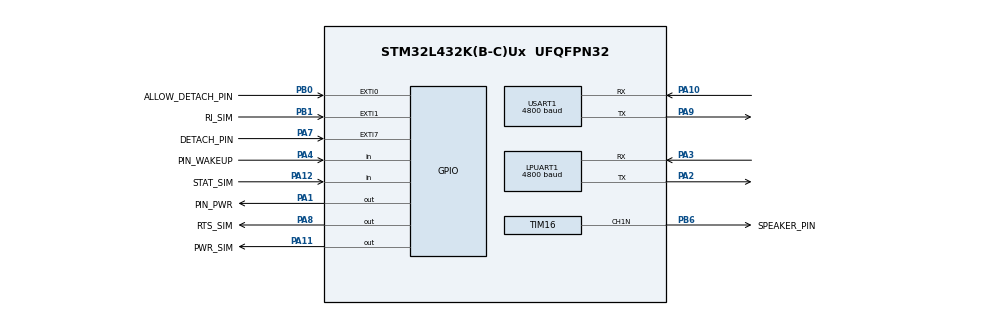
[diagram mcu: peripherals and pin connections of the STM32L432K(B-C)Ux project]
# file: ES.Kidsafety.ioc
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ADC1.Channel-3\#ChannelRegularConversion=ADC_CHANNEL_VREFINT
ADC1.NbrOfConversionFlag=1
ADC1.OffsetNumber-3\#ChannelRegularConversion=ADC_OFFSET_NONE
ADC1.Rank-3\#ChannelRegularConversion=1
ADC1.SamplingTime-3\#ChannelRegularConversion=ADC_SAMPLETIME_640CYCLES_5
ADC1.master=1
LPUART1.BaudRate=4800
LPUART1.WordLength=UART_WORDLENGTH_8B
Mcu.Family=STM32L4
Mcu.Name=STM32L432K(B-C)Ux
Mcu.Package=UFQFPN32
NVIC.ADC1_IRQn=true\:2\:0\:true\:false\:true\:true\:true
NVIC.EXTI0_IRQn=true\:1\:0\:true\:false\:true\:true\:true
NVIC.EXTI1_IRQn=true\:1\:0\:true\:false\:true\:true\:true
NVIC.EXTI9_5_IRQn=true\:0\:0\:false\:false\:true\:true\:true
NVIC.LPUART1_IRQn=true\:0\:0\:false\:false\:true\:true\:true
NVIC.PriorityGroup=NVIC_PRIORITYGROUP_4
NVIC.RTC_Alarm_IRQn=true\:0\:0\:false\:false\:true\:true\:true
NVIC.USART1_IRQn=true\:0\:0\:false\:false\:true\:true\:true
PA1.GPIO_Label=PIN_PWR
PA1.Signal=GPIO_Output
PA10.Mode=Asynchronous
PA10.Signal=USART1_RX
PA11.GPIO_Label=PWR_SIM
PA11.PinState=GPIO_PIN_SET
PA11.Signal=GPIO_Output
PA12.GPIO_Label=STAT_SIM
PA12.GPIO_PuPd=GPIO_PULLDOWN
PA12.Signal=GPIO_Input
PA13\ (JTMS-SWDIO).Mode=Serial_Wire
PA13\ (JTMS-SWDIO).Signal=SYS_JTMS-SWDIO
PA14\ (JTCK-SWCLK).Mode=Serial_Wire
PA14\ (JTCK-SWCLK).Signal=SYS_JTCK-SWCLK
PA2.Mode=Asynchronous
PA2.Signal=LPUART1_TX
PA3.Mode=Asynchronous
PA3.Signal=LPUART1_RX
PA4.GPIO_Label=PIN_WAKEUP
PA4.Signal=GPIO_Input
PA7.GPIO_Label=DETACH_PIN
PA7.GPIO_PuPd=GPIO_PULLUP
PA7.Signal=GPXTI7
PA8.GPIO_Label=RTS_SIM
PA8.Signal=GPIO_Output
PA9.Mode=Asynchronous
PA9.Signal=USART1_TX
PB0.GPIO_Label=ALLOW_DETACH_PIN
PB0.GPIO_PuPd=GPIO_PULLUP
PB0.Signal=GPXTI0
PB1.GPIO_Label=RI_SIM
PB1.GPIO_PuPd=GPIO_PULLUP
PB1.Signal=GPXTI1
PB6.GPIO_Label=SPEAKER_PIN
PB6.Mode=PWM Generation1 CH1N
PB6.Signal=TIM16_CH1N
ProjectManager.HeapSize=0x200
ProjectManager.StackSize=0x400
ProjectManager.TargetToolchain=STM32CubeIDE
RCC.ADCFreq_Value=32000000
RCC.HSE_VALUE=8000000
RCC.HSI48_VALUE=48000000
RCC.HSI_VALUE=16000000
RCC.LSE_VALUE=32768
RCC.MSI_VALUE=4000000
RCC.PLLSAI1N=16
RCC.USBFreq_Value=32000000
RCC.VCOOutputFreq_Value=32000000
RTC.Alarm=RTC_ALARM_A
RTC.AlarmMaskDateWeekDay=RTC_ALARMMASK_DATEWEEKDAY
RTC.AlarmMaskHours=RTC_ALARMMASK_HOURS
RTC.Hours=5
RTC.Hours_A=5
RTC.Minutes=10
RTC.Minutes_A=10
RTC.Seconds_A=30
TIM16.Channel=TIM_CHANNEL_1
TIM16.Period=499
TIM16.Prescaler=3
TIM16.Pulse=199
USART1.BaudRate=4800
USART1.VirtualMode-Asynchronous=VM_ASYNC
VP_ADC1_Vref_Input.Mode=IN-Vrefint
VP_RTC_VS_RTC_Activate.Mode=RTC_Enabled
VP_RTC_VS_RTC_Alarm_A_Intern.Mode=Alarm A
VP_RTC_VS_RTC_Calendar.Mode=RTC_Calendar
VP_TIM16_VS_ClockSourceINT.Mode=Enable_Timer
board=custom

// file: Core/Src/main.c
/* USER CODE BEGIN Header */
/**
  ******************************************************************************
  * @file           : main.c
  * @brief          : Main program body
  ******************************************************************************
  * @attention
  *
  * <h2><center>&copy; Copyright (c) 2020 STMicroelectronics.
  * All rights reserved.</center></h2>
  *
  * This software component is licensed by ST under BSD 3-Clause license,
  * the "License"; You may not use this file except in compliance with the
  * License. You may obtain a copy of the License at:
  *                        opensource.org/licenses/BSD-3-Clause
  *z
  ******************************************************************************
  */
/* USER CODE END Header */

#include "main.h"

/* USER CODE BEGIN Includes */
//#include "stdbool.h"
#include "string.h"
#include "stdlib.h"
#include "stdio.h"
#include "math.h"

/* USER CODE END Includes */

/* USER CODE BEGIN PD */
#define MAX_ARRAY 100
/* USER CODE END PD */

ADC_HandleTypeDef hadc1;

UART_HandleTypeDef hlpuart1;
UART_HandleTypeDef huart1;

RTC_HandleTypeDef hrtc;

TIM_HandleTypeDef htim16;

/* USER CODE BEGIN PV */
RTC_TimeTypeDef sTime = {0};
RTC_DateTypeDef sDate = {0};
RTC_AlarmTypeDef sAlarm = {0};
/* USER CODE END PV */

void SystemClock_Config(void);
static void MX_GPIO_Init(void);
static void MX_USART1_UART_Init(void);
static void MX_RTC_Init(void);
static void MX_ADC1_Init(void);
static void MX_LPUART1_UART_Init(void);
static void MX_TIM16_Init(void);
/* USER CODE BEGIN PFP */
void convert_Mode(uint8_t mode);
void ON_OFF_Pulse(void);
//------------------------------Set_Time/Alarm--------------------------------//
uint8_t DecimalToBCD(int number);
void setTime(uint8_t weekday, uint8_t date, uint8_t month, uint8_t year, uint8_t hour, uint8_t minute, uint8_t second);
void getTime(void);
void set_Alarm(uint8_t set_hour, uint8_t set_minute, uint8_t set_second, uint8_t set_day, uint8_t time_stage);
//-----------------------Checksum-------------------------//
void str2hex(char* input, char* output);
uint8_t NMEA_Checksum(char *Rx_Buffer);
//-----------------------Take Position-------------------------//
uint8_t check_Valid_Header(char *Rx_Buffer, uint8_t case_return);
uint8_t take_Coordinate(char *Rx_Buffer);
uint8_t send_Coordinate_to_Serve(char *lat_Array, char *lng_Array);
float Haversine(float Lat_Center, float Long_Center, float Lat_Location, float Long_Location);
//--------------------------------- Module SIM Function ---------------------------------//
void 	deleteBuffer(char ch[], int sophantu);
void 	resetHardwareSARAU201(void);
void 	contcatenateString(char str1[],char str2[],char str3[],char str4[],char str5[]);
void 	checkMessage(char phoneNumber[]);
void 	nextDay(uint8_t* date, uint8_t* day, uint8_t* month, uint8_t* year);
void 	send_getDataServer(void);
void 	warningDetached(void);
void 	warningOutSafeArea(void);
void 	allowDetaching(void);
void 	enableDetach(void);
void 	enableSpeaker(void);
void 	CutString(int stringpos, int startpos, char parentstring[], char childstring[], char startchar[], char endchar[]);
void 	periodicUpdateData(uint8_t stage);
uint8_t SaraU201Command(char ch[], char str[], int timeout);
uint8_t resetSoftwareSARAU201(void);
uint8_t deleteSMS(void);
uint8_t initSIM(void);
uint8_t sendMsg(int Case, char PhoneNumber[], char Latitude[], char Longtitude[], char Battery[]);
uint8_t makeCall(char phoneNumber[]);
uint8_t checkPhoneNumber(char phoneNumber[]);
uint8_t DataServer(char Latitude[], char Longtitude[], char Battery[]);
uint8_t checkDataServer(char stat[], char lat_center[], char lng_center[], char rad[]);
uint8_t ConverDay(char Day[]);
uint8_t ConverMonth(char Month[]);
uint8_t getTimeServer(uint8_t* day, uint8_t* date, uint8_t* month, uint8_t* year, uint8_t* hour, uint8_t* minute, uint8_t* second);
uint8_t CheckValidSMS(char Data[]);
uint8_t CheckValidDataServer(char Data[]);

/* USER CODE END PFP */

/* USER CODE BEGIN 0 */
char Rx_Buffer[MAX_ARRAY] = {0};
char Rx_Data[2] = {0};
char lat_Array[10] = {0};
char lng_Array[10] = {0};
char Latitude_ARR[12] 	= "16.07215";
char Longtitude_ARR[12] = "108.220748";
char Rx_data_sim[10];
char Rx_buffer_sim[350];
char Status[1];
char LatCenter[10];
char LngCenter[10];
char Radius[3];
char Thu[3], Ngay[2], Thang[3], Nam[4];
char Gio[2], Phut[2], Giay[2];
char tempARR[100];
char teleNumber[10] 	= "935087813";
char teleNumber2[10] 	= "936055147";
char Battery_ARR[5] 	= "50.2";
char Rssi1[5] = {0};
char Rssi2[5] = {0};
char SaveMes[100] = {0};//"+CMTI: \"ME\",2\r"
char locateMes[5] = {0};
float lat_Location = 16.123456;
float lng_Location = 107.123456;
float distance1;
uint16_t Rx_index = 0;
uint8_t Valid_Coordinate = 5;
uint8_t start_Header_Buffer = 0;
uint8_t valid_GPS = 0;
uint8_t end_Buffer = 0;
uint8_t flag_Alarm = 1;
uint8_t start_Receive = 0;
uint8_t num_error_Coordinate = 0;
uint8_t time_stage = 5;
uint8_t Weekday, Date, Month, Year, Hour, Minute, Second;
//uint8_t Weekday = 2, Date = 14, Month = 10, Year = 20, Hour = 5, Minute = 0, Second = 0;
uint16_t Rx_index_sim = 0;
uint8_t checkMes, checkCall, checkSer = 0;
/*Bien thong bao*/
uint8_t Ring = 0;
uint8_t Detach = 0;
uint8_t SafeArea = 0;
uint8_t AllowDetach = 0;
uint8_t StatusAllowRemove;
uint8_t thu, ngay, thang, nam, gio, phut , giay = 0;
uint8_t Rssi1_num, Rssi2_num = 0;
uint8_t NewSms = 0;
uint8_t checkNewMes = 0;
uint8_t Mes_index = 0;
float latCen, lngCen = 0;
//-----------------------------------------------------------------//
__STATIC_INLINE void DelayMicro(__IO uint32_t micros)
{
micros *= (SystemCoreClock / 1000000) / 9;
/* Wait till done */
while (micros--) ;
}
/* USER CODE BEGIN PFP */
/* Private function prototypes -----------------------------------------------*/
/* Private function prototypes -----------------------------------------------*/
#ifdef __GNUC__
 /* With GCC/RAISONANCE, small printf (option LD Linker->Libraries->Small printf
 set to 'Yes') calls __io_putchar() */
 #define PUTCHAR_PROTOTYPE int __io_putchar(int ch)
#else
 #define PUTCHAR_PROTOTYPE int fputc(int ch, FILE *f)
#endif /* __GNUC__ */
//------------------------------Set_Time/Alarm--------------------------------//
void HAL_RTC_AlarmAEventCallback(RTC_HandleTypeDef *hrtc)
{
	if (time_stage == 5)
		flag_Alarm = 2;
	if (time_stage == 30)
		flag_Alarm = 1;
	HAL_ResumeTick();
}

uint8_t DecimalToBCD(int number)
{
	return (((number / 10) << 4) | (number % 10));
}

void setTime(uint8_t weekday, uint8_t date, uint8_t month, uint8_t year, uint8_t hour, uint8_t minute, uint8_t second)
{
	sDate.WeekDay 	= DecimalToBCD(weekday);
	sDate.Date 		= DecimalToBCD(date);
	sDate.Month 	= DecimalToBCD(month);
	sDate.Year 		= DecimalToBCD(year);

	sTime.Hours		= DecimalToBCD(hour);
	sTime.Minutes	= DecimalToBCD(minute);
	sTime.Seconds	= DecimalToBCD(second);

	HAL_RTC_SetTime(&hrtc, &sTime, FORMAT_BCD);
	HAL_RTC_SetDate(&hrtc, &sDate, FORMAT_BCD);
}

void getTime(void)
{
	HAL_RTC_GetTime(&hrtc, &sTime, FORMAT_BIN);
	HAL_RTC_GetDate(&hrtc, &sDate, FORMAT_BIN);

	Weekday = sDate.WeekDay;
	Date 	= sDate.Date;
	Month 	= sDate.Month;
	Year 	= sDate.Year;

	Hour 	= sTime.Hours;
	Minute 	= sTime.Minutes;
	Second	= sTime.Seconds;
}

void set_Alarm(uint8_t set_hour, uint8_t set_minute, uint8_t set_second, uint8_t set_day, uint8_t time_stage)
{
//	  uint8_t set_minute_Alarm = (set_minute + time_stage)%60;
//	  if (set_minute_Alarm < set_minute) set_hour++;
	  uint8_t set_second_Alarm = (set_second + time_stage)%60;
	  if (set_second_Alarm < set_second) set_minute++;
	  if (set_minute == 60)
	  {
		  set_minute = 0;
		  set_hour++;
	  }
	  sAlarm.AlarmTime.Hours = DecimalToBCD(set_hour);
	  sAlarm.AlarmTime.Minutes = DecimalToBCD(set_minute);
	  sAlarm.AlarmTime.Seconds = DecimalToBCD(set_second_Alarm);
	  sAlarm.AlarmTime.SubSeconds = 0x0;
	  sAlarm.AlarmTime.DayLightSaving = RTC_DAYLIGHTSAVING_NONE;
	  sAlarm.AlarmTime.StoreOperation = RTC_STOREOPERATION_RESET;
	  sAlarm.AlarmMask = RTC_ALARMMASK_DATEWEEKDAY|RTC_ALARMMASK_HOURS;
	  sAlarm.AlarmSubSecondMask = RTC_ALARMSUBSECONDMASK_ALL;
	  sAlarm.AlarmDateWeekDaySel = RTC_ALARMDATEWEEKDAYSEL_DATE;
	  sAlarm.AlarmDateWeekDay = 0x1;
	  sAlarm.Alarm = RTC_ALARM_A;
	  if (HAL_RTC_SetAlarm_IT(&hrtc, &sAlarm, RTC_FORMAT_BCD) != HAL_OK)
	  {
	    Error_Handler();
	  }
}

//-----------------------Tranceive_UART-------------------------//
void HAL_UART_RxCpltCallback(UART_HandleTypeDef *huart)
{
	if (huart->Instance == LPUART1)
	{
		if (Rx_Data[0] == '$')
		{
			start_Receive = 1;
			Rx_index = 0;
		} else
		if ((Rx_Data[0] == '\r')||(Rx_Data[0] == '\n'))
		{
			start_Receive = 0;
//			HAL_UART_Receive_IT(&huart1, (uint8_t*)Rx_Data, 1);
			HAL_UART_Abort_IT(&hlpuart1);
		} else
			HAL_UART_Receive_IT(&hlpuart1, (uint8_t*)Rx_Data, 1);

		if ((start_Receive)&&(Rx_index < MAX_ARRAY))
		{
			Rx_Buffer[Rx_index++] = Rx_Data[0];
			HAL_UART_Receive_IT(&hlpuart1, (uint8_t*)Rx_Data, 1);
		}
		else
		{
			end_Buffer = 1;
//			HAL_UART_Abort_IT(&hlpuart1);
		}
	}
	if(huart -> Instance == USART1)
	  {
	    HAL_UART_Receive_IT(&huart1, (uint8_t *)Rx_data_sim, 1);
	    Rx_buffer_sim[Rx_index_sim++] = Rx_data_sim[0];
	    if (Rx_data_sim[0] == 'C') checkNewMes = 1;
	    if (Rx_data_sim[0] == 'M' && checkNewMes == 1) checkNewMes = 2;
	    if (Rx_data_sim[0] == 'T' && checkNewMes == 2) checkNewMes = 3;
	    if (Rx_data_sim[0] == 'I' && checkNewMes == 3) checkNewMes = 4;
	    if (checkNewMes == 4)
	    {
	      SaveMes[Mes_index++] = Rx_data_sim[0];
	      if (Rx_data_sim[0] == '\r')
	      {
	        NewSms = 1;
	        checkNewMes = 0;
	      }
	    }
	  }
}
//-----------------------Checksum-------------------------//
void str2hex(char* Rx_Buffer, char* Rx_Buffer_hex)
{
    int i = 0;
    while(Rx_Buffer[i] != '\0')
    {
        sprintf((char*)(Rx_Buffer_hex+i*2),"%02X", Rx_Buffer[i]);
        i++;
    }
    Rx_Buffer_hex[2*i++] = '\0';
}
uint8_t NMEA_Checksum(char *Rx_Buffer)
{
	char Rx_Buffer_hex[150] = {0};
	str2hex(Rx_Buffer, Rx_Buffer_hex);
	uint8_t sum = 0, i = 1, Check_num = 0;
	char couple[3] = {0}, Checksum_line[3] = {0};
	while (Rx_Buffer[i] != '*')
	{
		strncpy(couple, Rx_Buffer_hex + i*2, 2);
		sum ^= strtol(couple,NULL,16);
		i+=1;
		__NOP();
	}
	strncpy(Checksum_line,Rx_Buffer + i + 1, 2);
	Check_num = strtol(Checksum_line,NULL,16);

	if (sum == Check_num)
	{
		return 1;
	} else return 0;
}
//-----------------------Take Position-------------------------//
uint8_t check_Valid_Header(char *Rx_Buffer, uint8_t case_return)
{
//	while (end_Buffer != 1)
//	{
//		HAL_UART_Receive_IT(&hlpuart1, (uint8_t*)Rx_Data, 1);
//	}
	char header[6] = {0};
	end_Buffer = 0;
	for (uint16_t i = 0; i < MAX_ARRAY; i++)
	{
		if (Rx_Buffer[i] == '$')
		{
			strncpy(header, Rx_Buffer + i + 1, 5);
			if (strstr(header, "GPGGA"))
			{
				if (case_return == 0) return 1;
				else return (i+1);
			} else
			if (strstr(header, "GPRMC"))
			{
				if (case_return == 0) return 2;
				else return (i+1);
			} else
//			HAL_UART_Receive_IT(&hlpuart1, (uint8_t*)Rx_Data, 1);
		    flag_Alarm = 2;
		}
	}
	return 0;
}

uint8_t take_Coordinate(char *Rx_Buffer)
{
	uint8_t start_pos = check_Valid_Header(Rx_Buffer, 1);
	uint8_t valid_Header = check_Valid_Header(Rx_Buffer, 0);
	while (valid_Header == 0)
	{
		HAL_UART_Receive_IT(&hlpuart1, (uint8_t*)Rx_Data, 1);
		valid_Header = check_Valid_Header(Rx_Buffer, 0);
	}
	uint8_t lat_domain, lng_domain;
	if (check_Valid_Header(Rx_Buffer, 0) == 1)
	{
		lat_domain = 3;
		lng_domain = 5;
	} else
	if (check_Valid_Header(Rx_Buffer, 0) == 2)
	{
		lat_domain = 4;
		lng_domain = 6;
	} else return 0;

	uint8_t domain = 1; //mien trong cau truc NMEA
	for (uint16_t i = start_pos; i < MAX_ARRAY; i++)
	{
		if (Rx_Buffer[i] == ',')
		{
			domain++;
			if (domain == lat_domain)
			{
				for (uint8_t  j = i+1; j < i+9; j++)
					if (Rx_Buffer[j] == ',' )
						return 0;
				strncpy(lat_Array, Rx_Buffer + i + 1, 9);
				__NOP();
			} else
			if (domain == lng_domain)
			{
				for (uint8_t  j = i+1; j < i+10; j++)
					if (Rx_Buffer[j] == ',' )
						return 0;
				strncpy(lng_Array, Rx_Buffer + i + 1, 10);
				__NOP();
				return 1;
			}
		}
	} flag_Alarm = 2;
	return 0;
}
uint8_t send_Coordinate_to_Serve(char *lat_Array, char *lng_Array)
{
	char location_str_1[5] = {0};
	char location_str_2[5] = {0};
	volatile float lat_Location_Update, lng_Location_Update;
	if (take_Coordinate(Rx_Buffer) == 1)
	{
		//-------------------------	Latitude ----------------------------//
		volatile float lat_1 = 0, lat_2 = 0;
		strncpy(location_str_1, lat_Array, 2);	lat_1 = strtof(location_str_1,NULL);
		strncpy(location_str_2, lat_Array + 2, 7);	lat_2 = strtof(location_str_2,NULL);
		lat_Location_Update = lat_1 + lat_2/60;
		gcvt(lat_Location_Update, 9, Latitude_ARR);
		//-------------------------- Longitude --------------------------//
		volatile float lng_1 = 0, lng_2 = 0;
		strncpy(location_str_1, lng_Array, 3);	lng_1 = strtof(location_str_1,NULL);
		strncpy(location_str_2, lng_Array + 3, 7);	lng_2 = strtof(location_str_2,NULL);
		lng_Location_Update = lng_1 + lng_2/60;
		gcvt(lng_Location_Update, 10, Longtitude_ARR);
		__NOP();
		distance1 = Haversine(lat_Location, lng_Location, lat_Location_Update, lng_Location_Update);
	//		if (distance1 > 0.01)
	//		{
				lat_Location = lat_Location_Update;
				lng_Location = lng_Location_Update;
				gcvt(lat_Location, 10, Latitude_ARR);
				gcvt(lng_Location, 10, Longtitude_ARR);
				return 1;
		//}
	} else
		return 0;
}
float Haversine(float Lat_Center, float Long_Center, float Lat_Location, float Long_Location)
{
	float distance, hav;
	float lat1, lat2, long1, long2, dlat, dlong;

	/*Chuyen do sang radian*/
	lat1 = Lat_Location / (180 / M_PI);
	long1 = Long_Location / (180 / M_PI);
	lat2 = Lat_Center / (180 / M_PI);
	long2 = Long_Center / (180 / M_PI);

	/*Khoang cach giua latitude va longtitude*/
	dlat = lat2 - lat1;
	dlong = long2 - long1;

	/*Cong thuc haversine*/
	hav = sqrt (pow (sin(dlat / 2), 2) + cos (lat1) * cos (lat2) * pow(sin(dlong/2), 2));
	distance = 2 * 6371 * asin(hav);

	return distance;
}
//-----------------------ON_OF_Pulse-------------------------//
void ON_OFF_Pulse(void)
{
	DelayMicro(300);
    HAL_GPIO_WritePin(PIN_PWR_GPIO_Port, PIN_PWR_Pin, GPIO_PIN_RESET);
    DelayMicro(300);
    HAL_GPIO_WritePin(PIN_PWR_GPIO_Port, PIN_PWR_Pin, GPIO_PIN_SET);
    DelayMicro(300);
    HAL_GPIO_WritePin(PIN_PWR_GPIO_Port, PIN_PWR_Pin, GPIO_PIN_RESET);
    HAL_Delay(800);
	HAL_GPIO_WritePin(PIN_PWR_GPIO_Port, PIN_PWR_Pin, GPIO_PIN_RESET);
	DelayMicro(300);
	HAL_GPIO_WritePin(PIN_PWR_GPIO_Port, PIN_PWR_Pin, GPIO_PIN_SET);
	DelayMicro(300);
	HAL_GPIO_WritePin(PIN_PWR_GPIO_Port, PIN_PWR_Pin, GPIO_PIN_RESET);
}
void convert_Mode(uint8_t mode)
{
	if (mode)
	{
	   while (HAL_GPIO_ReadPin(PIN_WAKEUP_GPIO_Port, PIN_WAKEUP_Pin) != 1)
		   ON_OFF_Pulse();
	} else
	   while (HAL_GPIO_ReadPin(PIN_WAKEUP_GPIO_Port, PIN_WAKEUP_Pin) == 1)
		   ON_OFF_Pulse();
}
//-----------------------Deteching-------------------------//
void HAL_GPIO_EXTI_Callback(uint16_t GPIO_Pin)
{
  if (GPIO_Pin == DETACH_PIN_Pin)
  {
    for(int i = 0; i < 100000; i++); //Delay
    if (HAL_GPIO_ReadPin(GPIOA, DETACH_PIN_Pin))
      Detach = 1;
    else Detach = 0;
    EXTI->PR1 |= DETACH_PIN_Pin;
    //Tắt treo Systick
    HAL_ResumeTick();
  }
  if (GPIO_Pin == ALLOW_DETACH_PIN_Pin)
  {
    AllowDetach = 1;
    for(int i = 0; i < 100000; i++); //Delay
    int timeout;
    while(!HAL_GPIO_ReadPin(GPIOA, ALLOW_DETACH_PIN_Pin) & (timeout < 50000)) // �?ợi đến khi thả nút nhấn trong khoảng th�?i gian nhất định
    {
      timeout++;
    }
    EXTI->PR1 |= ALLOW_DETACH_PIN_Pin;
    //Tắt treo Systick
    HAL_ResumeTick();
  }
  if(GPIO_Pin == RI_SIM_Pin)
  {
    /*Ngat danh thuc va thoat Low power mode trên STM32*/
    Ring = 1;
    __NOP();
    EXTI->PR1 |= RI_SIM_Pin; //Xóa pending ngắt
    //Tắt treo Systick
    HAL_ResumeTick();
  }
}
//--------------------------------- Cac ham Module SIM ---------------------------------//
void deleteBuffer(char ch[], int sophantu)
/*Xoa bo dem*/
{
	for (int j = 0; j < sophantu; j++)
	{
		ch[j] = '\0';
 	}
	Rx_index_sim = 0;
}
uint8_t SaraU201Command(char ch[], char str[], int timeout)
{
	uint8_t CheckError = 0;
	do
	{
		HAL_UART_Transmit(&huart1, (uint8_t *)ch, strlen(ch), 1000);
		/*Delay*/
		uint32_t tickstart = HAL_GetTick();
		uint32_t wait = timeout;
		if (wait < HAL_MAX_DELAY)
		{
			wait += (uint32_t)(uwTickFreq);
		}
		while((HAL_GetTick() - tickstart) < wait)
		{
			if (strstr(Rx_buffer_sim, str))
				return 1;
		}
		CheckError++;
		if (CheckError == 2)
		{
			return 0;
		}
	}
	while(strstr(Rx_buffer_sim, str)==NULL);
	return 1;
}
void resetHardwareSARAU201(void)
/*Reset bang chan PWR_ON*/
{
	//Tat module
	HAL_GPIO_WritePin(PWR_SIM_GPIO_Port, PWR_SIM_Pin, GPIO_PIN_RESET);
	HAL_Delay(2000);
	HAL_GPIO_WritePin(PWR_SIM_GPIO_Port, PWR_SIM_Pin, GPIO_PIN_SET);

	//Bat Module
	HAL_GPIO_WritePin(PWR_SIM_GPIO_Port, PWR_SIM_Pin, GPIO_PIN_RESET);
	DelayMicro(200);
	HAL_GPIO_WritePin(PWR_SIM_GPIO_Port, PWR_SIM_Pin, GPIO_PIN_SET);
}
uint8_t resetSoftwareSARAU201(void)
/*Reset bang lenh AT*/
{
	//Set the MT to minimum functionality
	deleteBuffer(Rx_buffer_sim, Rx_index_sim);
	if (!SaraU201Command("AT+CFUN=0\r\n", "OK", 5000)) return 0;
	//Set the MT to full functionality
	deleteBuffer(Rx_buffer_sim, Rx_index_sim);
	if (!SaraU201Command("AT+CFUN=1\r\n", "OK", 5000)) return 0;
	return 1;
}
void contcatenateString(char str1[],char str2[],char str3[],char str4[],char str5[])
/*Noi chuoi*/
{
	strcat(str1, str2);
	strcat(str1, str3);
	strcat(str1, str4);
	strcat(str1, str5);
}
uint8_t deleteSMS(void)
{
	//Xoa tin nhan
	deleteBuffer(Rx_buffer_sim, Rx_index_sim);
	if (!SaraU201Command("AT+CMGD=1,4\r\n", "OK", 5000)) return 0;
	return 1;
}
uint8_t checkPhoneNumber(char phoneNumber[])
{
	if (Ring == 1)
	{
		//List current calls
		deleteBuffer(Rx_buffer_sim, Rx_index_sim);
		if (!SaraU201Command("AT+CLCC\r\n", "OK", 5000)) return 0;
		if (strstr(Rx_buffer_sim, phoneNumber))
		{
			//Neu dung SDT thi lam gi do
		}
	}
	return 1;
}
uint8_t CheckValidSMS(char Data[])
{
	uint8_t i;
	for (i = 0; i < strlen(Data); i++)
	{
		if (Data[i] == 'C' && Data[i + 1] == 'M' && Data[i + 2] == 'T' && Data[i + 3] == 'I')
			return i + 4;
	}
	return 0;
}
uint8_t CheckValidDataTime(char Data[])
{
	uint8_t i;
	for (i = 0; i < strlen(Data); i++)
	{
		if (Data[i] == 'D' && Data[i + 1] == 'a' && Data[i + 2] == 't' && Data[i + 3] == 'e')
			return i + 4;
	}
	return 0;
}
uint8_t CheckValidDataServer(char Data[])
{
	uint8_t i;
	for (i = 0; i < strlen(Data); i++)
	{
		if (Data[i] == '|')
			return i + 1;
	}
	return 0;
}
uint8_t checkRSSI(void)
{
	deleteBuffer(Rssi1, 5);
	deleteBuffer(Rssi2, 5);
	CutString(1, 0, Rx_buffer_sim, Rssi1, ":", ",");
	CutString(1, 0, Rx_buffer_sim, Rssi2, ",", "\r");
	Rssi1_num = atoi(Rssi1);
	Rssi2_num = atoi(Rssi2);
	if (Rssi1_num != 99 && Rssi2_num != 99)
		return 1;
	return 0;
}

void checkMessage(char phoneNumber[])
{
  //Lay vị tri luu tru cua tin nhan
  uint8_t locate_sms;
  CutString(1, 0, SaveMes, locateMes, ",", "\r");
  locate_sms = atoi(locateMes);
  if (locate_sms > 0 && locate_sms <= 340)
  {
    deleteBuffer(SaveMes, 100);
    Mes_index = 0;
    //Doc tin nhan tu vi tri luu tru
    deleteBuffer(tempARR, 100);
    deleteBuffer(Rx_buffer_sim, Rx_index_sim);
    contcatenateString(tempARR, "AT+CMGR=", locateMes, "\r\n", "");
    SaraU201Command(tempARR, "OK\r\n", 5000);

    //Kiem tra co dung noi dung tin nhan
    if(strstr(Rx_buffer_sim, "TOADO"))
    {
      if (!sendMsg(3, teleNumber, Latitude_ARR, Longtitude_ARR, Battery_ARR)) checkMes = 1;
    }
    else if(strstr(Rx_buffer_sim, "BATLOA"))
    {
      enableSpeaker();
    }
    else if(strstr(Rx_buffer_sim, "THAO"))
    {
      enableDetach();
    }
  }
  deleteBuffer(Rx_buffer_sim, Rx_index_sim);
  SaraU201Command("AT+CMGD=1,4\r\n", "OK", 5000);
}

uint8_t checkDataServer(char stat[], char lat_center[], char lng_center[], char rad[])
{
  uint8_t vitri = 0;
  if (strstr(Rx_buffer_sim, "+URDFILE" ) && strstr(Rx_buffer_sim, "\r\nOK"))
  {
    vitri = CheckValidDataServer(Rx_buffer_sim);
    if (vitri != 0)
    {
      /*Xoa mang*/
      deleteBuffer(stat, strlen(stat));
      deleteBuffer(lat_center, strlen(lat_center));
      deleteBuffer(lng_center, strlen(lng_center));
      deleteBuffer(rad, strlen(rad));
      /*Tach chuoi du lieu*/
//      CutString(2, vitri, Rx_buffer_sim, lat_center, ":", "-");
//      CutString(3, vitri, Rx_buffer_sim, lng_center, ":", "-");
//      CutString(4, vitri, Rx_buffer_sim, rad, ":", "-");
//      CutString(5, vitri, Rx_buffer_sim, stat, ":", "\"");
      CutString(4, vitri, Rx_buffer_sim, lat_center, " ", " ");
      CutString(7, vitri, Rx_buffer_sim, lng_center, " ", " ");
      CutString(10, vitri, Rx_buffer_sim, rad, " ", " ");
      CutString(13, vitri, Rx_buffer_sim, stat, " ", "\"");
      //Chuyen chuoi thanh so
      StatusAllowRemove = atoi(Status);
      return 1;
    }
    return 0;
  }
  return 0;
}

uint8_t initSIM(void)
// Khoi tao module SIM, cau hinh mang,...
{
//	while(HAL_GPIO_ReadPin(STAT_SIM_GPIO_Port, STAT_SIM_Pin)==0)
//	{
//	}
	/*Kiem tra ket noi voi module sim*/
	deleteBuffer(Rx_buffer_sim, Rx_index_sim);
	if (!SaraU201Command("AT\r\n", "OK", 500)) return 0;
	/*tat chuc nang phan hoi, Echo*/
	deleteBuffer(Rx_buffer_sim, Rx_index_sim);
	if (!SaraU201Command("ATE0\r\n", "OK", 500)) return 0;
	/*Kiem tra Sim co hoat dong khong*/
	deleteBuffer(Rx_buffer_sim, Rx_index_sim);
	if (!SaraU201Command("AT+CPIN?\r\n", "+CPIN: READY", 500)) return 0;
	/*Cau hinh dinh dang tin nhan*/ /*Set msg message format (0:PDU mode/ 1: Text mode)*/
	deleteBuffer(Rx_buffer_sim, Rx_index_sim);
	if (!SaraU201Command("AT+CMGF=1\r\n", "OK", 500)) return 0;
	/*Thong bao khi co tin nhan moi */
	deleteBuffer(Rx_buffer_sim, Rx_index_sim);
	if (!SaraU201Command("AT+CNMI=1,1\r\n", "OK", 500)) return 0;
	/*Disable flow control*/
	deleteBuffer(Rx_buffer_sim, Rx_index_sim);
	if (!SaraU201Command("AT&K0\r\n", "OK", 500)) return 0;
	/*Enable Power Saving is controlled by RTS*/
	deleteBuffer(Rx_buffer_sim, Rx_index_sim);
	if (!SaraU201Command("AT+UPSV=2\r\n", "OK", 500)) return 0;
	/*Network registration status*/
	deleteBuffer(Rx_buffer_sim, Rx_index_sim);
	if (!SaraU201Command("AT+UREG?\r\n", "+UREG: 0,6\r\n\r\nOK", 5000)) return 0;
	deleteBuffer(Rx_buffer_sim, Rx_index_sim);
	if (!SaraU201Command("AT&W\r\n", "OK\r\n", 500)) return 0;
	deleteBuffer(Rx_buffer_sim, Rx_index_sim);
	return 1;
}
uint8_t sendMsg(int Case, char PhoneNumber[], char Latitude[], char Longtitude[], char Battery[])
{
	char Phone[12] = {0};
	deleteBuffer(Rx_buffer_sim, Rx_index_sim);
	deleteBuffer(tempARR, 100); //Xóa mảng tempARR
	//Noi chuoi so dien thoai
	strcat(Phone, "+84");
	strcat(Phone, PhoneNumber);
	//Noi chuoi de gui lenh AT
	strcat(tempARR, "AT+CMGS=\"");
	strcat(tempARR, Phone);
	strcat(tempARR, "\"\r");
	if (!SaraU201Command(tempARR, ">", 1000)) return 0;
	if (Case == 1)
	{
		/*Thông báo ra khoi vùng an toàn + Link toa do + Phan tram pin*/
		deleteBuffer(tempARR, 100);
		strcat(tempARR, "OutOfSafeArea\n");
		strcat(tempARR, "http://maps.google.com/maps?q=");
		strcat(tempARR, Latitude);
		strcat(tempARR, ",");
		strcat(tempARR, Longtitude);
		strcat(tempARR, "\n");
		strcat(tempARR, "Battery: 90%");
		strcat(tempARR, "\x1A");
		deleteBuffer(Rx_buffer_sim, Rx_index_sim);
		if (!SaraU201Command(tempARR, "OK", 5000)) return 0;
	}
	else if (Case == 2)
	{
		/*Thong bao thao thiet bi+ Link toa do + Phan tram pin*/
		deleteBuffer(tempARR, 100);
		strcat(tempARR, "Detaching\n");
		strcat(tempARR, "http://maps.google.com/maps?q=");
		strcat(tempARR, Latitude);
		strcat(tempARR, ",");
		strcat(tempARR, Longtitude);
		strcat(tempARR, "\n");
		strcat(tempARR, "Battery:85%");
		strcat(tempARR, "\x1A");
		deleteBuffer(Rx_buffer_sim, Rx_index_sim);
		if (!SaraU201Command(tempARR, "OK", 5000)) return 0;
	}
	else if (Case == 3)
	{
		/*Gửi link đuong dan toa do + Phan tram pin*/
		deleteBuffer(tempARR, 100);
		strcat(tempARR, "http://maps.google.com/maps?q=");
		strcat(tempARR, Latitude);
		strcat(tempARR, ",");
		strcat(tempARR, Longtitude);
		strcat(tempARR, "\n");
		strcat(tempARR, "Battery:");
		strcat(tempARR, "\x1A");
		deleteBuffer(Rx_buffer_sim, Rx_index_sim);
		if (!SaraU201Command(tempARR, "OK", 5000)) return 0;
	}
	return 1;
}
uint8_t makeCall(char phoneNumber[])
{
	char Phone[12] = {0};
	uint32_t count = 0;
	uint8_t Call = 0; //Bien dem so cuoc goi
	//Cai dat thong bao tinh trang cuoc goi(Set reporting call status)
	deleteBuffer(Rx_buffer_sim, 300);
	if (!SaraU201Command("AT+UCALLSTAT=1\r\n", "OK", 1000)) return 0;
	do
	{
		//Xoa bo dem
		deleteBuffer(Rx_buffer_sim, 256);
		deleteBuffer(tempARR, 100);
		deleteBuffer(Phone, 12);
		//Noi chuoi
		strcat(Phone, "+84");
		strcat(Phone, phoneNumber);
		strcat(tempARR, "ATD");
		strcat(tempARR, Phone);
		strcat(tempARR, ";\r\n");
//		contcatenateString(Phone,"+84",phoneNumber,"","");
//		contcatenateString(tempARR, "ATD",Phone, ";\r\n", "");
		//Dem thoi gian
		count = HAL_GetTick();
		//Goi dien den khi nhac may
		if (!SaraU201Command(tempARR, "OK", 2000)) return 0;
		while (HAL_GetTick() - count < 40000)//HAL_GetTick() - count < 43000
		{
			if (strstr(Rx_buffer_sim, "0"))
				break;
		}
		//Tat cuoc goi
		if (!SaraU201Command("ATH\r\n", "OK", 500)) return 0;
		Call++;
		HAL_Delay(3000);
		if (Call == 5) break;
	}
	while(HAL_GetTick() - count > 40000);
	return 1;
}

void CutString(int stringpos, int startpos, char parentstring[], char childstring[], char startchar[], char endchar[])
{
	//Du lieu bat dau tu day
	int count = 0;
	for (int i = startpos; i < strlen(parentstring); i++)
	{
		if (parentstring[i] == startchar[0])
			count++;
		if (count == stringpos)
		{
			int t = 0;
			for (int j = i + 1; j < strlen(parentstring); j++)
			{
				if (parentstring[j] == endchar[0]) break;
				childstring[t] = parentstring[j];
				t++;
			}
			break;
		}
	}
}
uint8_t DataServer(char Latitude[], char Longtitude[], char Battery[])
{
	/*Check the GPRS attach status*/
//	while(HAL_GPIO_ReadPin(STAT_SIM_GPIO_Port, STAT_SIM_Pin)==0)
//	{
//	}
	deleteBuffer(Rx_buffer_sim, Rx_index_sim);
	if (!SaraU201Command("AT+CSQ\r\n", "OK\r\n", 10000)) return 0;
	if (!checkRSSI()) return 0;
	deleteBuffer(Rx_buffer_sim, Rx_index_sim);
	if (!SaraU201Command("AT+CGATT?\r\n", "+CGATT: 1\r\n\r\nOK\r\n", 10000)) return 0;
	/*Activate the GPRS connection.*/
	deleteBuffer(Rx_buffer_sim, Rx_index_sim);
	if (!SaraU201Command("AT+UPSDA=0,3\r\n", "OK\r\n", 90000))
	{
		SaraU201Command("AT+UPSDA=0,4\r\n", "OK\r\n", 5000);
		return 0;
	}
	/*Set the server domain name*/
	deleteBuffer(Rx_buffer_sim, Rx_index_sim);
	if (!SaraU201Command("AT+UHTTP=0,1,\"ipteks.tapit.vn\"\r\n", "OK\r\n", 2000)) return 0;

	/*Xoa bo dem va noi chuoi*/
	deleteBuffer(tempARR, 100);

	strcat(tempARR, "AT+UHTTPC=0,1,\"/insert.php?device=1&lat=");
	strcat(tempARR, Latitude);
	strcat(tempARR, "&lng=");
	strcat(tempARR, Longtitude);

	strcat(tempARR, "&pin=");
	strcat(tempARR, Battery);
	strcat(tempARR, "\",\"get.ffs\"");
	strcat(tempARR, "\r\n");
//	contcatenateString(tempARR, "AT+UHTTPC=0,1,\"/insert.php?device=1&lat=", Latitude, "&lng=", Longtitude);
//	contcatenateString(tempARR, "&pin=",Battery, "\",\"get.ffs\"", "\r\n");
	/*GET request to HTTP server*/
	deleteBuffer(Rx_buffer_sim, 100);
	if (!SaraU201Command(tempARR, "+UUHTTPCR: 0,1,1\r\n", 10000))
	{
		SaraU201Command("AT+UPSDA=0,4\r\n", "OK", 5000);
		return 0;
	}
	/*Context deactivation*/
	deleteBuffer(Rx_buffer_sim, Rx_index_sim);
	if (!SaraU201Command("AT+UPSDA=0,4\r\n", "OK", 5000)) return 0;
	/*Read file*/
	deleteBuffer(Rx_buffer_sim, 300);
	if (!SaraU201Command("AT+URDFILE=\"get.ffs\"\r\n", "\r\nOK", 15000)) return 0;
	return 1;
}
uint8_t getTimeServer(uint8_t* day, uint8_t* date, uint8_t* month, uint8_t* year, uint8_t* hour, uint8_t* minute, uint8_t* second)
{
	uint8_t vitri = 0;
	vitri = CheckValidDataTime(Rx_buffer_sim);
	if (vitri != 0)
	{
		//Xoa cac buffer
		deleteBuffer(Thu, 3);
		deleteBuffer(Ngay, 2);
		deleteBuffer(Thang, 2);
		deleteBuffer(Nam, 4);
		deleteBuffer(Gio, 2);
		deleteBuffer(Phut, 2);
		deleteBuffer(Giay, 2);

		CutString(1, vitri, Rx_buffer_sim, Thu, " ", ",");
		CutString(2, vitri, Rx_buffer_sim, Ngay, " ", " ");
		CutString(3, vitri, Rx_buffer_sim, Thang, " ", " ");
		CutString(4, vitri, Rx_buffer_sim, Nam, " ", " ");
		CutString(5, vitri, Rx_buffer_sim, Gio, " ", ":");
		CutString(2, vitri, Rx_buffer_sim, Phut, ":", ":");
		CutString(3, vitri, Rx_buffer_sim, Giay, ":", " ");

		//Chuyen chuoi thanh so
		*day	= ConverDay(Thu);
		*date	= atoi(Ngay);
		*month	= ConverMonth(Thang);
		*year	= atoi(Nam) % 100;
		*hour	= (atoi(Gio) + 7) % 24;
		*minute = atoi(Phut);
		*second = atoi(Giay);
		return 1;
	}
	return 0;
}
uint8_t ConverDay(char Day[])
{
	if (strstr(Day, "Mon")) return 1;
	else if (strstr(Day, "Tue")) return 2;
	else if (strstr(Day, "Wed")) return 3;
	else if (strstr(Day, "Thu")) return 4;
	else if (strstr(Day, "Fri")) return 5;
	else if (strstr(Day, "Sat")) return 6;
	else return 7; //if (strstr(Day, "Sun"))
}
uint8_t ConverMonth(char Month[])
{
	if (strstr(Month, "Jan")) return 1;
	else if (strstr(Month, "Feb")) return 2;
	else if (strstr(Month, "Mar")) return 3;
	else if (strstr(Month, "Apr")) return 4;
	else if (strstr(Month, "May")) return 5;
	else if (strstr(Month, "Jun")) return 6;
	else if (strstr(Month, "Jul")) return 7;
	else if (strstr(Month, "Aug")) return 8;
	else if (strstr(Month, "Sep")) return 9;
	else if (strstr(Month, "Oct")) return 10;
	else if (strstr(Month, "Nov")) return 11;
	else  return 12;
}
void nextDay(uint8_t* date, uint8_t* day, uint8_t* month, uint8_t* year)
{
	/*Thu*/
	if (*date == 7) *date = 1;
	else *date += 1;
	/*Ngay thang nam*/
	if (*day == 31)
	{
		*day = 1;
		if (*month != 12) *month += 1;
		else
		{
			*month = 1;
			*year += 1;
		}
	}
	else if (*day == 30 && (*month == 4 || *month == 6 || *month == 9 || *month == 11))
	{
		*day = 1;
		*month += 1;
	}
	else if ((*day == 29 || *day == 28) && (*month == 2))
	{
		if (*day == 29 || (*day == 28 && ((*year % 400 != 0) && (*year % 4 != 0 || *year % 100 == 0))))
		{
			*day = 1;
			*month += 1;
		}
		else
			*day += 1;
	}
	else
		*day += 1;
}
uint8_t checkSafeArea(char lat_Center[], char lng_Center[], char Rad[], char lat_Current[], char lng_Current[])
{
	uint16_t d;
	float lat_Cen, lng_Cen, lat_Cur, lng_Cur;
	int rad = atoi(Rad);
	lat_Cen = strtof(lat_Center, NULL);
	lng_Cen = strtof(lng_Center, NULL);
	lat_Cur = strtof(lat_Current, NULL);
	lng_Cur = strtof(lng_Current, NULL);
	d = Haversine(lat_Cen, lng_Cen, lat_Cur , lng_Cur);
	if (d*1000 > (float)rad)
		return 0;
	return 1;
}
void send_getDataServer(void)
{
	/*Gui va nhan du lieu tu Server*/
	if (!DataServer(Latitude_ARR, Longtitude_ARR, Battery_ARR)) checkSer = 1;
	/*lay thoi gian tu Server*/
	if (getTimeServer(&thu, &ngay, &thang, &nam, &gio, &phut, &giay))
	{
		if (atoi(Gio) + 7 >= 24)
			nextDay(&thu, &ngay, &thang, &nam);
		//Lay TG tu RTC
		getTime();
		if (Hour != gio || Minute != phut || Weekday != thu || Date != ngay || Month != thang || Year != nam)
		{
			setTime(thu, ngay, thang, nam, gio, phut, giay);
		}
	}
	if (checkDataServer(Status, LatCenter, LngCenter, Radius))
	{
		/*Kiem tra vi tri hien tai co nam trong vung an toan*/
		if (!checkSafeArea(LatCenter, LngCenter, Radius, Latitude_ARR, Longtitude_ARR))
			SafeArea = 1;
		else SafeArea = 0;
	}
	deleteBuffer(Rx_buffer_sim, 300);
}
void allowDetaching(void)
{
	HAL_GPIO_WritePin(RTS_SIM_GPIO_Port, RTS_SIM_Pin, RESET);
	HAL_Delay(20);
	send_getDataServer();
	flag_Alarm = 0;
	if (StatusAllowRemove == 1)//Kiem tra thiet bi da dc cho phep thao
	{
	  enableDetach();
	}
	AllowDetach = 0;
	HAL_GPIO_WritePin(RTS_SIM_GPIO_Port, RTS_SIM_Pin, SET);
//------------------------------------------------------------------------------//
//	// Gui va lay du lieu tu Server
//	if (!DataServer(Latitude_ARR, Longtitude_ARR, Battery_ARR)) checkSer = 1;
//
//	//Tach chuoi lay gia tri can thiet
//	checkDataServer(Status, LatCenter, LngCenter, Radius);
}
void enableSpeaker(void)
{
	HAL_TIMEx_PWMN_Start(&htim16, TIM_CHANNEL_1);
	uint32_t start = HAL_GetTick();
	while ((HAL_GetTick() - start) < 10000)
	{
	}
	HAL_TIMEx_PWMN_Stop(&htim16, TIM_CHANNEL_1);
}
void enableDetach(void)
{
	uint32_t start = HAL_GetTick();
	while ((HAL_GetTick() - start) < 60000)
	{
		if (HAL_GPIO_ReadPin(DETACH_PIN_GPIO_Port, DETACH_PIN_Pin) == 0)
			break;
	}
	Detach = 0;
}
void warningDetached(void) //canh bao thao go
{
	HAL_GPIO_WritePin(RTS_SIM_GPIO_Port, RTS_SIM_Pin, RESET);
	HAL_Delay(20);
	send_getDataServer();
	if (StatusAllowRemove == 0)
	{
		if (!sendMsg(2, teleNumber, Latitude_ARR, Longtitude_ARR, Battery_ARR)) checkMes = 1;
		HAL_Delay(5000);
		if (!makeCall(teleNumber)) checkCall = 1;
		enableSpeaker();
		Detach = 0;
		flag_Alarm = 0;
	}
	HAL_GPIO_WritePin(RTS_SIM_GPIO_Port, RTS_SIM_Pin, SET);
}
void warningOutSafeArea(void) //canh bao ra khoi vung an toan
{
	HAL_GPIO_WritePin(RTS_SIM_GPIO_Port, RTS_SIM_Pin, RESET);
	HAL_Delay(20);
	//Gui tin nhan thong bao ra khoi vung an toan
	if (!sendMsg(1, teleNumber, Latitude_ARR, Longtitude_ARR, Battery_ARR)) checkMes = 1;
	HAL_Delay(5000);
	//Goi dien kiem tra co duoc nhac may
	if (!makeCall(teleNumber)) checkCall = 1;
	enableSpeaker();
    SafeArea = 0;
}
void periodicUpdateData(uint8_t stage)
{
	if (stage == 1)
	{
		stage = 0;
		convert_Mode(1);
		getTime();
		time_stage = 5;
		set_Alarm(Hour, Minute, Second, Date, time_stage);
		HAL_UART_Abort_IT(&hlpuart1);
		HAL_GPIO_WritePin(RTS_SIM_GPIO_Port, RTS_SIM_Pin, SET);
	}
	if (stage == 2)
	{
		while (end_Buffer != 1)
		{
		  HAL_UART_Receive_IT(&hlpuart1, (uint8_t*)Rx_Data, 1);
		}
		valid_GPS = send_Coordinate_to_Serve(lat_Array, lng_Array);
		HAL_GPIO_WritePin(RTS_SIM_GPIO_Port, RTS_SIM_Pin, RESET);
		HAL_Delay(20);
		send_getDataServer();
//	  		if (check_Valid_Header(Rx_Buffer, 0) != 0)
//	  		{
//	  		  convert_Mode(0);
//	  		  flag_Alarm = 2;
//	  		}
		stage = 0;
		convert_Mode(0);
		getTime();
		time_stage = 30;
		set_Alarm(Hour, Minute, Second, Date, time_stage);
		HAL_GPIO_WritePin(RTS_SIM_GPIO_Port, RTS_SIM_Pin, SET);
	}
	if (stage == 0)
	{
		HAL_SuspendTick();
		HAL_PWR_EnterSLEEPMode(PWR_MAINREGULATOR_ON, PWR_SLEEPENTRY_WFI);
	}
}
uint32_t value_adc;
__weak void HAL_ADC_ConvCpltCallback(ADC_HandleTypeDef *hadc)
{
	value_adc = HAL_ADC_GetValue(&hadc1);
}
/* USER CODE END 0 */

int main(void)
{

  /* MCU Configuration--------------------------------------------------------*/

  /* Reset of all peripherals, Initializes the Flash interface and the Systick. */
  HAL_Init();

  /* Configure the system clock */
  SystemClock_Config();

  /* Initialize all configured peripherals */
  MX_GPIO_Init();
  MX_USART1_UART_Init();
  MX_RTC_Init();
  MX_ADC1_Init();
  MX_LPUART1_UART_Init();
  MX_TIM16_Init();
  /* USER CODE BEGIN 2 */
  HAL_UART_Receive_IT(&huart1, (uint8_t *)Rx_data_sim, 1);
  //Tat power saving
  HAL_GPIO_WritePin(RTS_SIM_GPIO_Port, RTS_SIM_Pin, RESET);
  //Bat module (set chan PWR)
  HAL_GPIO_WritePin(PIN_PWR_GPIO_Port, PIN_PWR_Pin, SET);
  //Cho khoi dong module
  HAL_Delay(4000);

//  Initial Module Sim
//  while (!initSIM())
//  {
	  resetHardwareSARAU201();
//  }
  //Turn on Power Saving module SIM
  HAL_Delay(20);
  HAL_GPIO_WritePin(RTS_SIM_GPIO_Port, RTS_SIM_Pin, SET);
//  HAL_ADC_Start_IT(&hadc1);
//  HAL_UART_Receive_IT(&hlpuart1, (uint8_t*)Rx_Data, 1);
//  HAL_UART_Receive_IT(&huart1, (uint8_t*)Rx_Data, 1);
//  HAL_Delay(3000);
//  warningOutSafeArea();
//	HAL_GPIO_WritePin(RTS_SIM_GPIO_Port, RTS_SIM_Pin, RESET);
//	HAL_Delay(200);
//	makeCall("981001119");
  /* USER CODE END 2 */

  /* Infinite loop */
  /* USER CODE BEGIN WHILE */
  while (1)
  {
//	  DataServer(Latitude_ARR, Longtitude_ARR, Battery_ARR);
//	  makeCall(teleNumber);
//	  HAL_GPIO_WritePin(SPEAKER_PIN_GPIO_Port, SPEAKER_PIN_Pin, RESET);
	  if (checkCall == 1 || checkMes == 1 || checkSer == 1)
	  {
		HAL_GPIO_WritePin(RTS_SIM_GPIO_Port, RTS_SIM_Pin, RESET);
		HAL_Delay(30);
		resetSoftwareSARAU201();
		initSIM();
		if (checkSer == 1) flag_Alarm = 2;
		if (checkCall == 1 || checkMes == 1) Detach = 1;
		checkCall = checkMes = checkSer = 0;
	  }
	  else if (NewSms == 1) //Khi co tin nhan moi
	  {
		HAL_GPIO_WritePin(RTS_SIM_GPIO_Port, RTS_SIM_Pin, RESET);
		HAL_Delay(20);
		checkMessage(teleNumber);
		Ring = 0;
		NewSms = 0;
		HAL_GPIO_WritePin(RTS_SIM_GPIO_Port, RTS_SIM_Pin, SET);
	  }
	  else if (AllowDetach == 1)//Cho pheo thao thiet bi
	  {
		  allowDetaching();
	  }
	  else if (Detach == 1) //Kiểm tra nếu tháo thiết bị mà không cho phép
	  {
		  warningDetached();
	  }
	  else if (SafeArea == 1) //Khi ra khoi vung an toàn
	  {
		  warningOutSafeArea();
	  }
	  periodicUpdateData(flag_Alarm);
//	  return EXIT_SUCCESS;
    /* USER CODE END WHILE */

  }
}

void SystemClock_Config(void)
{
  RCC_OscInitTypeDef RCC_OscInitStruct = {0};
  RCC_ClkInitTypeDef RCC_ClkInitStruct = {0};
  RCC_PeriphCLKInitTypeDef PeriphClkInit = {0};

  /** Initializes the CPU, AHB and APB busses clocks
  */
  RCC_OscInitStruct.OscillatorType = RCC_OSCILLATORTYPE_LSI|RCC_OSCILLATORTYPE_MSI;
  RCC_OscInitStruct.LSIState = RCC_LSI_ON;
  RCC_OscInitStruct.MSIState = RCC_MSI_ON;
  RCC_OscInitStruct.MSICalibrationValue = 0;
  RCC_OscInitStruct.MSIClockRange = RCC_MSIRANGE_6;
  RCC_OscInitStruct.PLL.PLLState = RCC_PLL_NONE;
  if (HAL_RCC_OscConfig(&RCC_OscInitStruct) != HAL_OK)
  {
    Error_Handler();
  }
  /** Initializes the CPU, AHB and APB busses clocks
  */
  RCC_ClkInitStruct.ClockType = RCC_CLOCKTYPE_HCLK|RCC_CLOCKTYPE_SYSCLK
                              |RCC_CLOCKTYPE_PCLK1|RCC_CLOCKTYPE_PCLK2;
  RCC_ClkInitStruct.SYSCLKSource = RCC_SYSCLKSOURCE_MSI;
  RCC_ClkInitStruct.AHBCLKDivider = RCC_SYSCLK_DIV1;
  RCC_ClkInitStruct.APB1CLKDivider = RCC_HCLK_DIV1;
  RCC_ClkInitStruct.APB2CLKDivider = RCC_HCLK_DIV1;

  if (HAL_RCC_ClockConfig(&RCC_ClkInitStruct, FLASH_LATENCY_0) != HAL_OK)
  {
    Error_Handler();
  }
  PeriphClkInit.PeriphClockSelection = RCC_PERIPHCLK_RTC|RCC_PERIPHCLK_USART1
                              |RCC_PERIPHCLK_LPUART1|RCC_PERIPHCLK_ADC;
  PeriphClkInit.Usart1ClockSelection = RCC_USART1CLKSOURCE_PCLK2;
  PeriphClkInit.Lpuart1ClockSelection = RCC_LPUART1CLKSOURCE_PCLK1;
  PeriphClkInit.AdcClockSelection = RCC_ADCCLKSOURCE_PLLSAI1;
  PeriphClkInit.RTCClockSelection = RCC_RTCCLKSOURCE_LSI;
  PeriphClkInit.PLLSAI1.PLLSAI1Source = RCC_PLLSOURCE_MSI;
  PeriphClkInit.PLLSAI1.PLLSAI1M = 1;
  PeriphClkInit.PLLSAI1.PLLSAI1N = 16;
  PeriphClkInit.PLLSAI1.PLLSAI1P = RCC_PLLP_DIV7;
  PeriphClkInit.PLLSAI1.PLLSAI1Q = RCC_PLLQ_DIV2;
  PeriphClkInit.PLLSAI1.PLLSAI1R = RCC_PLLR_DIV2;
  PeriphClkInit.PLLSAI1.PLLSAI1ClockOut = RCC_PLLSAI1_ADC1CLK;
  if (HAL_RCCEx_PeriphCLKConfig(&PeriphClkInit) != HAL_OK)
  {
    Error_Handler();
  }
  /** Configure the main internal regulator output voltage
  */
  if (HAL_PWREx_ControlVoltageScaling(PWR_REGULATOR_VOLTAGE_SCALE1) != HAL_OK)
  {
    Error_Handler();
  }
}

static void MX_ADC1_Init(void)
{

  ADC_ChannelConfTypeDef sConfig = {0};

  /** Common config
  */
  hadc1.Instance = ADC1;
  hadc1.Init.ClockPrescaler = ADC_CLOCK_ASYNC_DIV1;
  hadc1.Init.Resolution = ADC_RESOLUTION_12B;
  hadc1.Init.DataAlign = ADC_DATAALIGN_RIGHT;
  hadc1.Init.ScanConvMode = ADC_SCAN_DISABLE;
  hadc1.Init.EOCSelection = ADC_EOC_SINGLE_CONV;
  hadc1.Init.LowPowerAutoWait = DISABLE;
  hadc1.Init.ContinuousConvMode = DISABLE;
  hadc1.Init.NbrOfConversion = 1;
  hadc1.Init.DiscontinuousConvMode = DISABLE;
  hadc1.Init.NbrOfDiscConversion = 1;
  hadc1.Init.ExternalTrigConv = ADC_SOFTWARE_START;
  hadc1.Init.ExternalTrigConvEdge = ADC_EXTERNALTRIGCONVEDGE_NONE;
  hadc1.Init.DMAContinuousRequests = DISABLE;
  hadc1.Init.Overrun = ADC_OVR_DATA_PRESERVED;
  hadc1.Init.OversamplingMode = DISABLE;
  if (HAL_ADC_Init(&hadc1) != HAL_OK)
  {
    Error_Handler();
  }
  /** Configure Regular Channel
  */
  sConfig.Channel = ADC_CHANNEL_VREFINT;
  sConfig.Rank = ADC_REGULAR_RANK_1;
  sConfig.SamplingTime = ADC_SAMPLETIME_640CYCLES_5;
  sConfig.SingleDiff = ADC_SINGLE_ENDED;
  sConfig.OffsetNumber = ADC_OFFSET_NONE;
  sConfig.Offset = 0;
  if (HAL_ADC_ConfigChannel(&hadc1, &sConfig) != HAL_OK)
  {
    Error_Handler();
  }

}

static void MX_LPUART1_UART_Init(void)
{

  hlpuart1.Instance = LPUART1;
  hlpuart1.Init.BaudRate = 4800;
  hlpuart1.Init.WordLength = UART_WORDLENGTH_8B;
  hlpuart1.Init.StopBits = UART_STOPBITS_1;
  hlpuart1.Init.Parity = UART_PARITY_NONE;
  hlpuart1.Init.Mode = UART_MODE_TX_RX;
  hlpuart1.Init.HwFlowCtl = UART_HWCONTROL_NONE;
  hlpuart1.Init.OneBitSampling = UART_ONE_BIT_SAMPLE_DISABLE;
  hlpuart1.AdvancedInit.AdvFeatureInit = UART_ADVFEATURE_NO_INIT;
  if (HAL_UART_Init(&hlpuart1) != HAL_OK)
  {
    Error_Handler();
  }

}

static void MX_USART1_UART_Init(void)
{

  huart1.Instance = USART1;
  huart1.Init.BaudRate = 4800;
  huart1.Init.WordLength = UART_WORDLENGTH_8B;
  huart1.Init.StopBits = UART_STOPBITS_1;
  huart1.Init.Parity = UART_PARITY_NONE;
  huart1.Init.Mode = UART_MODE_TX_RX;
  huart1.Init.HwFlowCtl = UART_HWCONTROL_NONE;
  huart1.Init.OverSampling = UART_OVERSAMPLING_16;
  huart1.Init.OneBitSampling = UART_ONE_BIT_SAMPLE_DISABLE;
  huart1.AdvancedInit.AdvFeatureInit = UART_ADVFEATURE_NO_INIT;
  if (HAL_UART_Init(&huart1) != HAL_OK)
  {
    Error_Handler();
  }

}

static void MX_RTC_Init(void)
{

  RTC_TimeTypeDef sTime = {0};
  RTC_DateTypeDef sDate = {0};
  RTC_AlarmTypeDef sAlarm = {0};

  /** Initialize RTC Only
  */
  hrtc.Instance = RTC;
  hrtc.Init.HourFormat = RTC_HOURFORMAT_24;
  hrtc.Init.AsynchPrediv = 127;
  hrtc.Init.SynchPrediv = 255;
  hrtc.Init.OutPut = RTC_OUTPUT_DISABLE;
  hrtc.Init.OutPutRemap = RTC_OUTPUT_REMAP_NONE;
  hrtc.Init.OutPutPolarity = RTC_OUTPUT_POLARITY_HIGH;
  hrtc.Init.OutPutType = RTC_OUTPUT_TYPE_OPENDRAIN;
  if (HAL_RTC_Init(&hrtc) != HAL_OK)
  {
    Error_Handler();
  }

  /** Initialize RTC and set the Time and Date
  */
  sTime.Hours = 0x5;
  sTime.Minutes = 0x10;
  sTime.Seconds = 0x0;
  sTime.DayLightSaving = RTC_DAYLIGHTSAVING_NONE;
  sTime.StoreOperation = RTC_STOREOPERATION_RESET;
  if (HAL_RTC_SetTime(&hrtc, &sTime, RTC_FORMAT_BCD) != HAL_OK)
  {
    Error_Handler();
  }
  sDate.WeekDay = RTC_WEEKDAY_MONDAY;
  sDate.Month = RTC_MONTH_JANUARY;
  sDate.Date = 0x1;
  sDate.Year = 0x0;

  if (HAL_RTC_SetDate(&hrtc, &sDate, RTC_FORMAT_BCD) != HAL_OK)
  {
    Error_Handler();
  }
  /** Enable the Alarm A
  */
  sAlarm.AlarmTime.Hours = 0x5;
  sAlarm.AlarmTime.Minutes = 0x10;
  sAlarm.AlarmTime.Seconds = 0x30;
  sAlarm.AlarmTime.SubSeconds = 0x0;
  sAlarm.AlarmTime.DayLightSaving = RTC_DAYLIGHTSAVING_NONE;
  sAlarm.AlarmTime.StoreOperation = RTC_STOREOPERATION_RESET;
  sAlarm.AlarmMask = RTC_ALARMMASK_DATEWEEKDAY|RTC_ALARMMASK_HOURS;
  sAlarm.AlarmSubSecondMask = RTC_ALARMSUBSECONDMASK_ALL;
  sAlarm.AlarmDateWeekDaySel = RTC_ALARMDATEWEEKDAYSEL_DATE;
  sAlarm.AlarmDateWeekDay = 0x1;
  sAlarm.Alarm = RTC_ALARM_A;
  if (HAL_RTC_SetAlarm_IT(&hrtc, &sAlarm, RTC_FORMAT_BCD) != HAL_OK)
  {
    Error_Handler();
  }

}

static void MX_TIM16_Init(void)
{

  TIM_OC_InitTypeDef sConfigOC = {0};
  TIM_BreakDeadTimeConfigTypeDef sBreakDeadTimeConfig = {0};

  htim16.Instance = TIM16;
  htim16.Init.Prescaler = 3;
  htim16.Init.CounterMode = TIM_COUNTERMODE_UP;
  htim16.Init.Period = 499;
  htim16.Init.ClockDivision = TIM_CLOCKDIVISION_DIV1;
  htim16.Init.RepetitionCounter = 0;
  htim16.Init.AutoReloadPreload = TIM_AUTORELOAD_PRELOAD_DISABLE;
  if (HAL_TIM_Base_Init(&htim16) != HAL_OK)
  {
    Error_Handler();
  }
  if (HAL_TIM_PWM_Init(&htim16) != HAL_OK)
  {
    Error_Handler();
  }
  sConfigOC.OCMode = TIM_OCMODE_PWM1;
  sConfigOC.Pulse = 199;
  sConfigOC.OCPolarity = TIM_OCPOLARITY_HIGH;
  sConfigOC.OCNPolarity = TIM_OCNPOLARITY_HIGH;
  sConfigOC.OCFastMode = TIM_OCFAST_DISABLE;
  sConfigOC.OCIdleState = TIM_OCIDLESTATE_RESET;
  sConfigOC.OCNIdleState = TIM_OCNIDLESTATE_RESET;
  if (HAL_TIM_PWM_ConfigChannel(&htim16, &sConfigOC, TIM_CHANNEL_1) != HAL_OK)
  {
    Error_Handler();
  }
  sBreakDeadTimeConfig.OffStateRunMode = TIM_OSSR_DISABLE;
  sBreakDeadTimeConfig.OffStateIDLEMode = TIM_OSSI_DISABLE;
  sBreakDeadTimeConfig.LockLevel = TIM_LOCKLEVEL_OFF;
  sBreakDeadTimeConfig.DeadTime = 0;
  sBreakDeadTimeConfig.BreakState = TIM_BREAK_DISABLE;
  sBreakDeadTimeConfig.BreakPolarity = TIM_BREAKPOLARITY_HIGH;
  sBreakDeadTimeConfig.AutomaticOutput = TIM_AUTOMATICOUTPUT_DISABLE;
  if (HAL_TIMEx_ConfigBreakDeadTime(&htim16, &sBreakDeadTimeConfig) != HAL_OK)
  {
    Error_Handler();
  }
  HAL_TIM_MspPostInit(&htim16);

}

static void MX_GPIO_Init(void)
{
  GPIO_InitTypeDef GPIO_InitStruct = {0};

  /* GPIO Ports Clock Enable */
  __HAL_RCC_GPIOA_CLK_ENABLE();
  __HAL_RCC_GPIOB_CLK_ENABLE();

  /*Configure GPIO pin Output Level */
  HAL_GPIO_WritePin(GPIOA, PIN_PWR_Pin|RTS_SIM_Pin, GPIO_PIN_RESET);

  /*Configure GPIO pin Output Level */
  HAL_GPIO_WritePin(PWR_SIM_GPIO_Port, PWR_SIM_Pin, GPIO_PIN_SET);

  /*Configure GPIO pins : PIN_PWR_Pin RTS_SIM_Pin PWR_SIM_Pin */
  GPIO_InitStruct.Pin = PIN_PWR_Pin|RTS_SIM_Pin|PWR_SIM_Pin;
  GPIO_InitStruct.Mode = GPIO_MODE_OUTPUT_PP;
  GPIO_InitStruct.Pull = GPIO_NOPULL;
  GPIO_InitStruct.Speed = GPIO_SPEED_FREQ_LOW;
  HAL_GPIO_Init(GPIOA, &GPIO_InitStruct);

  /*Configure GPIO pin : PIN_WAKEUP_Pin */
  GPIO_InitStruct.Pin = PIN_WAKEUP_Pin;
  GPIO_InitStruct.Mode = GPIO_MODE_INPUT;
  GPIO_InitStruct.Pull = GPIO_NOPULL;
  HAL_GPIO_Init(PIN_WAKEUP_GPIO_Port, &GPIO_InitStruct);

  /*Configure GPIO pin : DETACH_PIN_Pin */
  GPIO_InitStruct.Pin = DETACH_PIN_Pin;
  GPIO_InitStruct.Mode = GPIO_MODE_IT_RISING;
  GPIO_InitStruct.Pull = GPIO_PULLUP;
  HAL_GPIO_Init(DETACH_PIN_GPIO_Port, &GPIO_InitStruct);

  /*Configure GPIO pins : ALLOW_DETACH_PIN_Pin RI_SIM_Pin */
  GPIO_InitStruct.Pin = ALLOW_DETACH_PIN_Pin|RI_SIM_Pin;
  GPIO_InitStruct.Mode = GPIO_MODE_IT_RISING;
  GPIO_InitStruct.Pull = GPIO_PULLUP;
  HAL_GPIO_Init(GPIOB, &GPIO_InitStruct);

  /*Configure GPIO pin : STAT_SIM_Pin */
  GPIO_InitStruct.Pin = STAT_SIM_Pin;
  GPIO_InitStruct.Mode = GPIO_MODE_INPUT;
  GPIO_InitStruct.Pull = GPIO_PULLDOWN;
  HAL_GPIO_Init(STAT_SIM_GPIO_Port, &GPIO_InitStruct);

  /* EXTI interrupt init*/
  HAL_NVIC_SetPriority(EXTI0_IRQn, 1, 0);
  HAL_NVIC_EnableIRQ(EXTI0_IRQn);

  HAL_NVIC_SetPriority(EXTI1_IRQn, 1, 0);
  HAL_NVIC_EnableIRQ(EXTI1_IRQn);

  HAL_NVIC_SetPriority(EXTI9_5_IRQn, 0, 0);
  HAL_NVIC_EnableIRQ(EXTI9_5_IRQn);

}

void Error_Handler(void)
{
}

/************************ (C) COPYRIGHT STMicroelectronics *****END OF FILE****/
